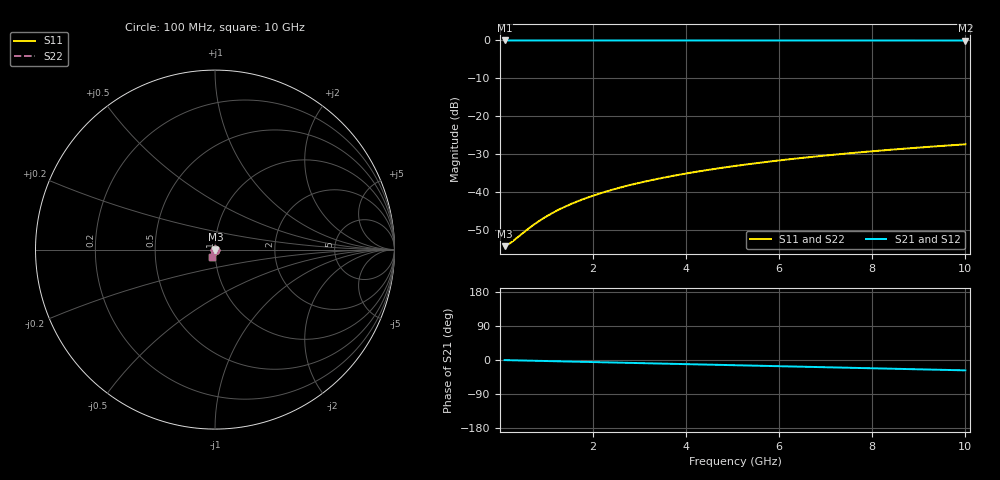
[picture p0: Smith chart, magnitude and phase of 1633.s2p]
# Hz S RI R 50.00
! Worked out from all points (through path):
!   100 points, 100 MHz to 10 GHz, reference 50 ohm
!   highest |S21| = -0.02 dB at 100 MHz (marker M1); lowest = 0.0 dB at 10 GHz (marker M2)
!   group delay of S21, straight-line fit = 7.59 ps
!   lowest |S11| = -54.2 dB at 100 MHz (marker M3), VSWR 1.00, Z = 50.2 - j0.0451 ohm
!   |S11| at or under -10 dB: start of sweep to end of sweep
!   |S22| runs from -54.2 to -27.4 dB; largest |S21 - S12| = 0
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1e8  0.0019 -0.000449  0.9981 -0.00475  0.9981 -0.00475  0.0019 -0.000449
2e8  0.0019 -0.000898  0.998 -0.00949  0.998 -0.00949  0.0019 -0.000898
3e8  0.0019 -0.00135  0.998 -0.0142  0.998 -0.0142  0.0019 -0.00135
6e8  0.00185 -0.00269  0.9976 -0.0285  0.9976 -0.0285  0.00185 -0.00269
7e8  0.00183 -0.00314  0.9975 -0.0332  0.9975 -0.0332  0.00183 -0.00314
8e8  0.0018 -0.00359  0.9973 -0.038  0.9973 -0.038  0.0018 -0.00359
1e9  0.00173 -0.00449  0.9969 -0.0475  0.9969 -0.0475  0.00173 -0.00449
1.2e9  0.00164 -0.00538  0.9964 -0.0569  0.9964 -0.0569  0.00164 -0.00538
1.4e9  0.00153 -0.00627  0.9958 -0.0664  0.9958 -0.0664  0.00153 -0.00627
1.6e9  0.0014 -0.00716  0.9951 -0.0759  0.9951 -0.0759  0.0014 -0.00716
1.8e9  0.00126 -0.00805  0.9943 -0.0854  0.9943 -0.0854  0.00126 -0.00805
2.1e9  0.00102 -0.00938  0.9929 -0.0995  0.9929 -0.0995  0.00102 -0.00938
2.5e9  0.000629 -0.0111  0.9908 -0.1184  0.9908 -0.1184  0.000629 -0.0111
2.9e9  0.000175 -0.0129  0.9883 -0.1373  0.9883 -0.1373  0.000175 -0.0129
3.4e9  -0.000485 -0.015  0.9847 -0.1607  0.9847 -0.1607  -0.000485 -0.015
4.2e9  -0.00175 -0.0184  0.9778 -0.1981  0.9778 -0.1981  -0.00175 -0.0184
5.1e9  -0.00348 -0.0221  0.9683 -0.2399  0.9683 -0.2399  -0.00348 -0.0221
5.9e9  -0.00528 -0.0253  0.9583 -0.2766  0.9583 -0.2766  -0.00528 -0.0253
6.7e9  -0.00731 -0.0283  0.9469 -0.3129  0.9469 -0.3129  -0.00731 -0.0283
7.5e9  -0.00957 -0.0311  0.9341 -0.3488  0.9341 -0.3488  -0.00957 -0.0311
8.4e9  -0.0124 -0.0341  0.9181 -0.3886  0.9181 -0.3886  -0.0124 -0.0341
1e10  -0.0179 -0.0388  0.8854 -0.4575  0.8854 -0.4575  -0.0179 -0.0388
